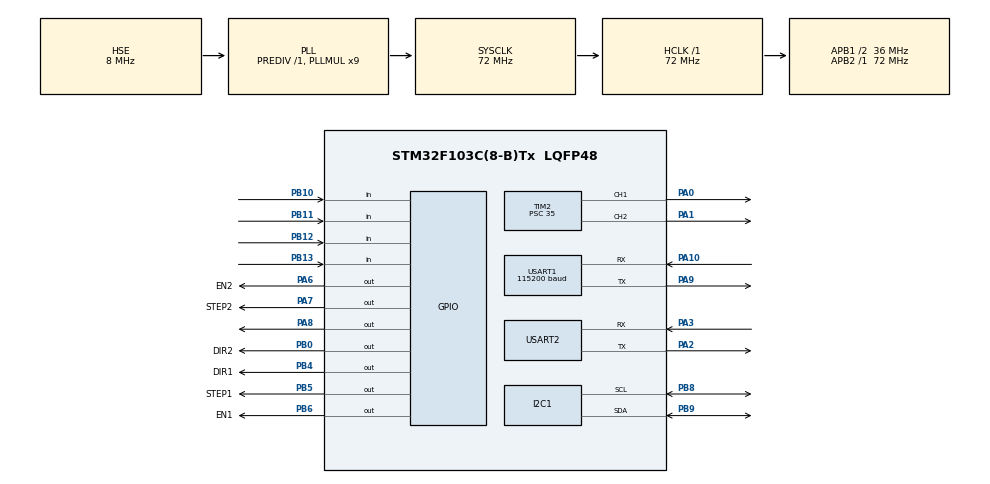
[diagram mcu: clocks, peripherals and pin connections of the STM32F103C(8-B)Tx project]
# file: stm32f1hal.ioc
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Dma.Request0=USART1_RX
Dma.USART1_RX.0.Direction=DMA_PERIPH_TO_MEMORY
Dma.USART1_RX.0.Instance=DMA1_Channel5
Dma.USART1_RX.0.MemDataAlignment=DMA_MDATAALIGN_BYTE
Dma.USART1_RX.0.MemInc=DMA_MINC_ENABLE
Dma.USART1_RX.0.Mode=DMA_CIRCULAR
Dma.USART1_RX.0.PeriphDataAlignment=DMA_PDATAALIGN_BYTE
Dma.USART1_RX.0.PeriphInc=DMA_PINC_DISABLE
Dma.USART1_RX.0.Priority=DMA_PRIORITY_LOW
I2C1.I2C_Mode=I2C_Fast
Mcu.Family=STM32F1
Mcu.Name=STM32F103C(8-B)Tx
Mcu.Package=LQFP48
NVIC.DMA1_Channel5_IRQn=true\:0\:0\:false\:false\:true\:false\:true\:true
NVIC.PriorityGroup=NVIC_PRIORITYGROUP_4
NVIC.TIM4_IRQn=true\:0\:0\:false\:false\:true\:true\:true\:true
NVIC.USART1_IRQn=true\:0\:0\:false\:false\:true\:true\:true\:true
NVIC.USART2_IRQn=true\:0\:0\:false\:false\:true\:true\:true\:true
PA0-WKUP.Signal=S_TIM2_CH1_ETR
PA1.Signal=S_TIM2_CH2
PA10.Mode=Asynchronous
PA10.Signal=USART1_RX
PA13.Mode=Serial_Wire
PA13.Signal=SYS_JTMS-SWDIO
PA14.Mode=Serial_Wire
PA14.Signal=SYS_JTCK-SWCLK
PA2.Mode=Asynchronous
PA2.Signal=USART2_TX
PA3.Mode=Asynchronous
PA3.Signal=USART2_RX
PA6.GPIO_Label=EN2
PA6.Signal=GPIO_Output
PA7.GPIO_Label=STEP2
PA7.Signal=GPIO_Output
PA8.GPIO_PuPd=GPIO_PULLDOWN
PA8.Signal=GPIO_Output
PA9.Mode=Asynchronous
PA9.Signal=USART1_TX
PB0.GPIO_Label=DIR2
PB0.Signal=GPIO_Output
PB10.GPIO_PuPd=GPIO_PULLDOWN
PB10.Signal=GPIO_Input
PB11.GPIO_PuPd=GPIO_PULLDOWN
PB11.Signal=GPIO_Input
PB12.GPIO_PuPd=GPIO_PULLDOWN
PB12.Signal=GPIO_Input
PB13.GPIO_PuPd=GPIO_PULLDOWN
PB13.Signal=GPIO_Input
PB4.GPIO_Label=DIR1
PB4.Signal=GPIO_Output
PB5.GPIO_Label=STEP1
PB5.Signal=GPIO_Output
PB6.GPIO_Label=EN1
PB6.Signal=GPIO_Output
PB8.Mode=I2C
PB8.Signal=I2C1_SCL
PB9.Mode=I2C
PB9.Signal=I2C1_SDA
PD0-OSC_IN.Mode=HSE-External-Oscillator
PD0-OSC_IN.Signal=RCC_OSC_IN
PD1-OSC_OUT.Mode=HSE-External-Oscillator
PD1-OSC_OUT.Signal=RCC_OSC_OUT
ProjectManager.HeapSize=0x200
ProjectManager.StackSize=0x400
ProjectManager.TargetToolchain=MDK-ARM V5.32
RCC.AHBFreq_Value=72000000
RCC.APB1CLKDivider=RCC_HCLK_DIV2
RCC.APB1Freq_Value=36000000
RCC.APB1TimFreq_Value=72000000
RCC.APB2Freq_Value=72000000
RCC.APB2TimFreq_Value=72000000
RCC.HCLKFreq_Value=72000000
RCC.PLLMUL=RCC_PLL_MUL9
RCC.PLLSourceVirtual=RCC_PLLSOURCE_HSE
RCC.SYSCLKFreq_VALUE=72000000
RCC.SYSCLKSource=RCC_SYSCLKSOURCE_PLLCLK
RCC.USBFreq_Value=72000000
SH.S_TIM2_CH1_ETR.0=TIM2_CH1,PWM Generation1 CH1
SH.S_TIM2_CH2.0=TIM2_CH2,PWM Generation2 CH2
TIM2.AutoReloadPreload=TIM_AUTORELOAD_PRELOAD_ENABLE
TIM2.Channel-PWM\ Generation1\ CH1=TIM_CHANNEL_1
TIM2.Channel-PWM\ Generation2\ CH2=TIM_CHANNEL_2
TIM2.Period=39999
TIM2.Prescaler=35
TIM4.AutoReloadPreload=TIM_AUTORELOAD_PRELOAD_ENABLE
TIM4.Period=199
TIM4.Prescaler=7199
TIM4.TIM_MasterSlaveMode=TIM_MASTERSLAVEMODE_DISABLE
USART1.BaudRate=115200
USART1.VirtualMode=VM_ASYNC
USART2.VirtualMode=VM_ASYNC
VP_TIM4_VS_ClockSourceITR.Mode=TriggerSource_ITR0
board=custom

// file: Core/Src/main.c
/* USER CODE BEGIN Header */
/**
  ******************************************************************************
  * @file           : main.c
  * @brief          : Main program body
  ******************************************************************************
  * @attention
  *
  * Copyright (c) 2025 STMicroelectronics.
  * All rights reserved.
  *
  * This software is licensed under terms that can be found in the LICENSE file
  * in the root directory of this software component.
  * If no LICENSE file comes with this software, it is provided AS-IS.
  *
  ******************************************************************************
  */
/* USER CODE END Header */
#include "main.h"
#include "dma.h"
#include "i2c.h"
#include "tim.h"
#include "usart.h"
#include "gpio.h"

/* USER CODE BEGIN Includes */
#include "ui.h"
#include "Servo.h"
#include "openmv.h"
#include "ServoPid.h"
#include "uart_dma.h"
#include "laser_draw.h"
#include "Emm_V5_Receive.h"
#include "svg_renderer.h"
/* USER CODE END Includes */

/* USER CODE BEGIN PD */
typedef struct {
	const char *task_name;
	int execution_time;
	void (*func)(void);
	bool enable;
	uint32_t last_time;
} periodic_task_t;
/* USER CODE END PD */

/* USER CODE BEGIN PM */
#define MAX_TASK 10
#define RUN true
#define IDLE false
/* USER CODE END PM */

/* USER CODE BEGIN PV */
periodic_task_t tasks[MAX_TASK] = {
	{"OLED_TICK", 	  20,   oled_menu_tick,				 RUN },
	{"BUTTON_TICK",   20,   button_ticks, 				 RUN },
	{"UART_DMA", 	    1, 	  UART_Process_DMA_Data, RUN },
	{"OPENMV_TASK",   1,    process_received_data, RUN },
	{"SERVO_CONTROL", 20,   servo_pid_control,	   RUN },

};
/* USER CODE END PV */

void SystemClock_Config(void);
/* USER CODE BEGIN PFP */
void enable_task(const char* task_name, bool enable) {
    for (int i = 0; i < MAX_TASK; i++) {
        if (strcmp(tasks[i].task_name, task_name) == 0) {
            tasks[i].enable = enable;
            return;
        }
    }
}

/* USER CODE END PFP */

/* USER CODE BEGIN 0 */

// 全局变量
/* USER CODE END 0 */

int main(void)
{

  /* MCU Configuration--------------------------------------------------------*/

  /* Reset of all peripherals, Initializes the Flash interface and the Systick. */
  HAL_Init();

  /* Configure the system clock */
  SystemClock_Config();

  /* Initialize all configured peripherals */
  MX_GPIO_Init();
  MX_DMA_Init();
  MX_TIM2_Init();
  MX_USART1_UART_Init();
  MX_I2C1_Init();
  MX_USART2_UART_Init();
  MX_TIM4_Init();
  /* USER CODE BEGIN 2 */
	HAL_TIM_Base_Start_IT(&htim4);
	printf("SYSTEM STARTED\r\n");
	UART_DMA_Init();
	menu_init_and_create();
  servo_pid_init();
  /* USER CODE END 2 */

  /* Infinite loop */
  /* USER CODE BEGIN WHILE */
  while (1)
  {
		uint32_t current_time = HAL_GetTick();
		for (int i = 0; i < MAX_TASK; i++) {
			if (tasks[i].enable == IDLE) continue;
			if (current_time - tasks[i].last_time >= tasks[i].execution_time && current_time != 0)
			{
				tasks[i].last_time = current_time;
				tasks[i].func();
			}
		}
    /* USER CODE END WHILE */
  }
}

void SystemClock_Config(void)
{
  RCC_OscInitTypeDef RCC_OscInitStruct = {0};
  RCC_ClkInitTypeDef RCC_ClkInitStruct = {0};

  /** Initializes the RCC Oscillators according to the specified parameters
  * in the RCC_OscInitTypeDef structure.
  */
  RCC_OscInitStruct.OscillatorType = RCC_OSCILLATORTYPE_HSE;
  RCC_OscInitStruct.HSEState = RCC_HSE_ON;
  RCC_OscInitStruct.HSEPredivValue = RCC_HSE_PREDIV_DIV1;
  RCC_OscInitStruct.HSIState = RCC_HSI_ON;
  RCC_OscInitStruct.PLL.PLLState = RCC_PLL_ON;
  RCC_OscInitStruct.PLL.PLLSource = RCC_PLLSOURCE_HSE;
  RCC_OscInitStruct.PLL.PLLMUL = RCC_PLL_MUL9;
  if (HAL_RCC_OscConfig(&RCC_OscInitStruct) != HAL_OK)
  {
    Error_Handler();
  }

  /** Initializes the CPU, AHB and APB buses clocks
  */
  RCC_ClkInitStruct.ClockType = RCC_CLOCKTYPE_HCLK|RCC_CLOCKTYPE_SYSCLK
                              |RCC_CLOCKTYPE_PCLK1|RCC_CLOCKTYPE_PCLK2;
  RCC_ClkInitStruct.SYSCLKSource = RCC_SYSCLKSOURCE_PLLCLK;
  RCC_ClkInitStruct.AHBCLKDivider = RCC_SYSCLK_DIV1;
  RCC_ClkInitStruct.APB1CLKDivider = RCC_HCLK_DIV2;
  RCC_ClkInitStruct.APB2CLKDivider = RCC_HCLK_DIV1;

  if (HAL_RCC_ClockConfig(&RCC_ClkInitStruct, FLASH_LATENCY_2) != HAL_OK)
  {
    Error_Handler();
  }
}

void Error_Handler(void)
{
  __disable_irq();
  while (1)
  {
  }
}
